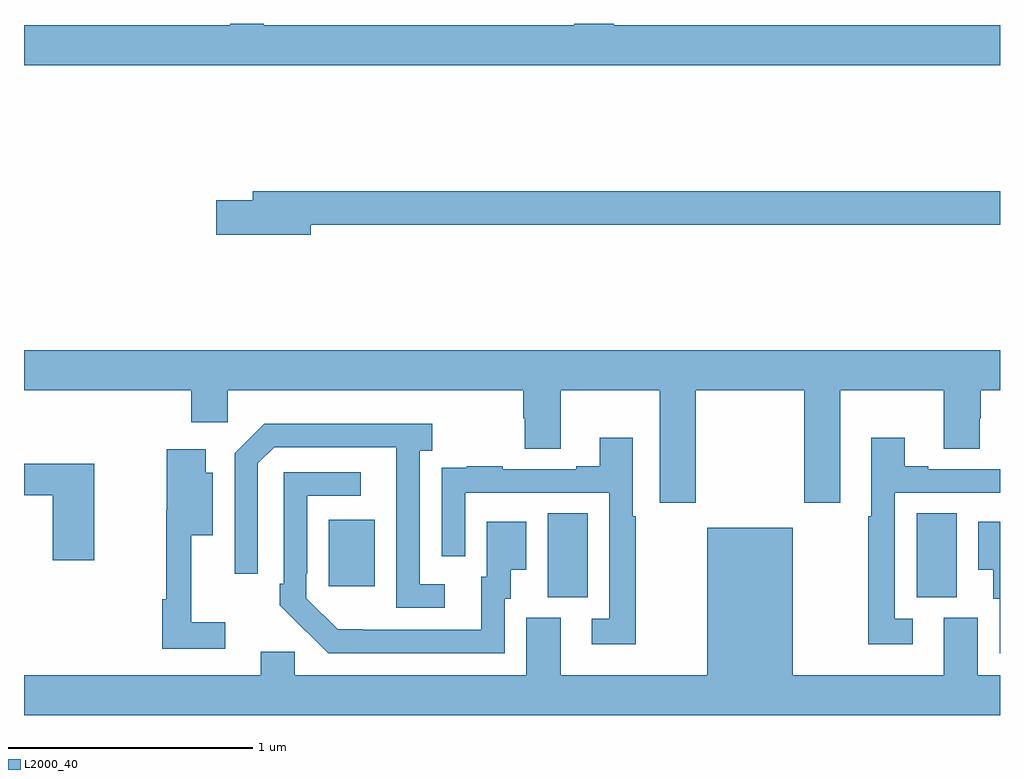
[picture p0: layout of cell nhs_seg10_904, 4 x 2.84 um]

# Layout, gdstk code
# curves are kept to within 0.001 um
import gdstk
lib = gdstk.Library(unit=1e-6, precision=1e-09)
def R(c, l, rs):  # rectangles x0, y0, x1, y1
    for r in rs: c.add(gdstk.rectangle(r[:2], r[2:], *l))
def P(c, l, *ps):  # polygons
    for p in ps: c.add(gdstk.Polygon(p, *l))
L2000_40 = (2000, 40)

nhs_seg10_904 = lib.new_cell('nhs_seg10_904')
R(nhs_seg10_904, L2000_40, [(159.146,1286.149,159.31,1286.492), (160.658,1286.149,160.822,1286.492), (158.249,1286.193,158.437,1286.467)])
P(nhs_seg10_904, L2000_40, [(161,1288.492),(159.416,1288.492),(159.416,1288.5),(159.256,1288.5),(159.256,1288.492),(157.983,1288.492),(157.983,1288.5),(157.845,1288.5),(157.845,1288.492),(157,1288.492),(157,1288.328),(161,1288.328)],
  [(158.176,1287.676),(161,1287.676),(161,1287.812),(157.937,1287.812),(157.937,1287.776),(157.788,1287.776),(157.788,1287.634),(158.176,1287.634)],
  [(159.753,1286.996),(160.198,1286.996),(160.198,1286.535),(160.345,1286.535),(160.345,1286.996),(160.769,1286.996),(160.769,1286.758),(160.917,1286.758),(160.917,1286.883),(160.922,1286.883),(160.922,1286.996),(161,1286.996),(161,1287.16),(157,1287.16),(157,1286.996),(157.685,1286.996),(157.685,1286.865),(157.836,1286.865),(157.836,1286.996),(159.047,1286.996),(159.047,1286.883),(159.052,1286.883),(159.052,1286.758),(159.199,1286.758),(159.199,1286.996),(159.605,1286.996),(159.605,1286.535),(159.753,1286.535)],
  [(158.725,1286.202),(158.622,1286.202),(158.622,1286.75),(158.674,1286.75),(158.674,1286.86),(157.984,1286.86),(157.863,1286.739),(157.863,1286.244),(157.959,1286.244),(157.959,1286.697),(158.025,1286.763),(158.525,1286.763),(158.526,1286.106),(158.725,1286.106)],
  [(159.508,1286.48),(159.495,1286.48),(159.495,1286.803),(159.359,1286.803),(159.359,1286.686),(159.263,1286.686),(159.263,1286.673),(158.963,1286.673),(158.963,1286.686),(158.815,1286.686),(158.815,1286.679),(158.713,1286.679),(158.713,1286.57),(158.712,1286.57),(158.712,1286.316),(158.808,1286.316),(158.808,1286.577),(159.399,1286.577),(159.399,1286.061),(159.327,1286.061),(159.327,1285.956),(159.508,1285.956)],
  [(160.642,1286.061),(160.569,1286.061),(160.569,1286.577),(161,1286.577),(161,1286.673),(160.705,1286.673),(160.705,1286.686),(160.609,1286.686),(160.609,1286.803),(160.473,1286.803),(160.473,1286.48),(160.461,1286.48),(160.461,1285.956),(160.642,1285.956)],
  [(157.825,1286.047),(157.685,1286.047),(157.685,1286.402),(157.774,1286.402),(157.774,1286.659),(157.744,1286.659),(157.744,1286.755),(157.586,1286.755),(157.586,1286.506),(157.582,1286.506),(157.582,1286.141),(157.567,1286.141),(157.567,1285.938),(157.825,1285.938)],
  [(157.288,1286.695),(157,1286.695),(157,1286.566),(157.118,1286.566),(157.118,1286.301),(157.288,1286.301)],
  [(158.97,1286.142),(158.995,1286.142),(158.995,1286.261),(159.058,1286.261),(159.058,1286.458),(158.897,1286.458),(158.897,1286.232),(158.873,1286.232),(158.873,1286.016),(158.286,1286.017),(158.157,1286.145),(158.157,1286.245),(158.16,1286.245),(158.16,1286.565),(158.38,1286.565),(158.38,1286.661),(158.064,1286.661),(158.064,1286.203),(158.049,1286.203),(158.049,1286.115),(158.246,1285.92),(158.97,1285.92)],
  [(161,1286.458),(160.91,1286.458),(160.91,1286.261),(160.973,1286.261),(160.973,1286.142),(160.998,1286.142),(160.998,1285.92),(161,1285.92)],
  [(161,1285.828),(160.909,1285.828),(160.909,1286.064),(160.769,1286.064),(160.769,1285.828),(160.15,1285.828),(160.15,1286.434),(159.8,1286.434),(159.8,1285.828),(159.199,1285.828),(159.199,1286.064),(159.059,1286.064),(159.059,1285.828),(158.109,1285.828),(158.109,1285.926),(157.97,1285.926),(157.97,1285.828),(157,1285.828),(157,1285.664),(161,1285.664)])

lib.write_gds('nhs_seg10_904.gds')
